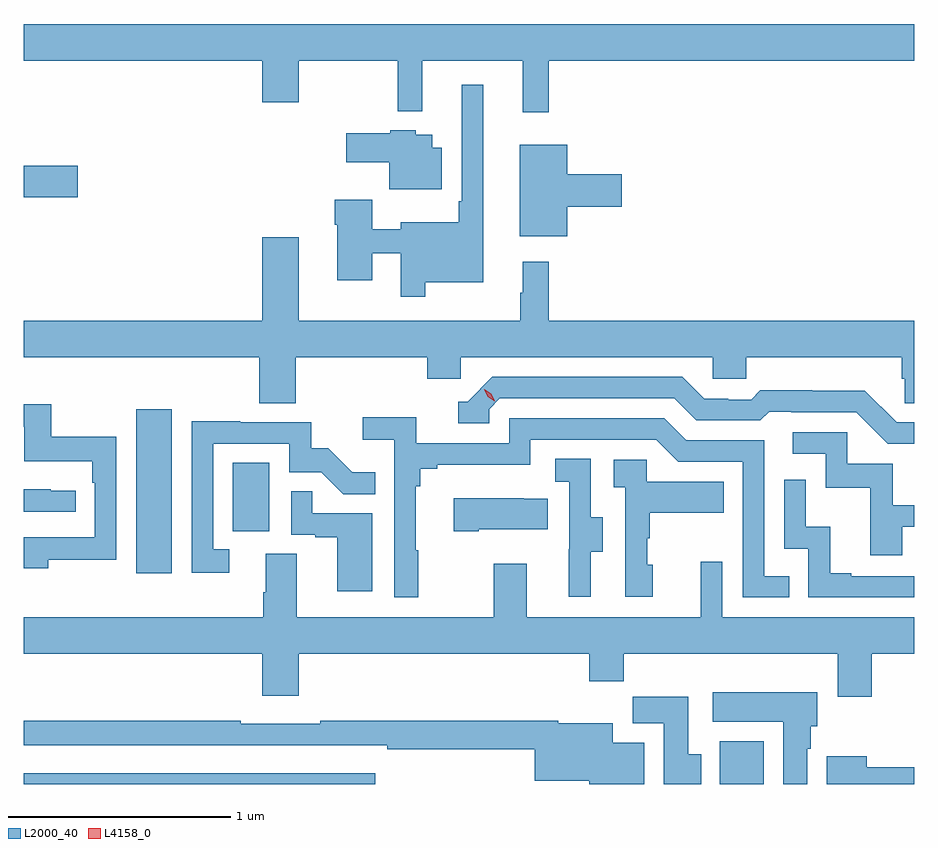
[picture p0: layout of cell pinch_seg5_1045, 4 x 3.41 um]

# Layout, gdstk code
import gdstk
lib = gdstk.Library(unit=1e-6, precision=1e-09)
def R(c, l, rs):  # rectangles x0, y0, x1, y1
    for r in rs: c.add(gdstk.rectangle(r[:2], r[2:], *l))
def P(c, l, *ps):  # polygons
    for p in ps: c.add(gdstk.Polygon(p, *l))
L2000_40 = (2000, 40)
L4158_0 = (4158, 0)

pinch_seg5_1045 = lib.new_cell('pinch_seg5_1045')
R(pinch_seg5_1045, L2000_40, [(835.264,866.831,836.843,866.88), (838.391,866.831,838.588,867.022), (835.769,867.777,835.93,868.513), (836.204,867.966,836.368,868.273), (835.264,869.465,835.507,869.607)])
P(pinch_seg5_1045, L2000_40, [(835.264,870.08),(836.336,870.08),(836.336,869.892),(836.5,869.892),(836.5,870.08),(836.943,870.08),(836.943,869.852),(837.053,869.852),(837.053,870.08),(837.506,870.08),(837.506,869.847),(837.623,869.847),(837.623,870.08),(839.264,870.08),(839.264,870.244),(835.264,870.244)],
  [(837.067,869.084),(837.328,869.084),(837.328,869.971),(837.231,869.971),(837.231,869.449),(837.219,869.449),(837.219,869.353),(836.957,869.353),(836.957,869.323),(836.83,869.323),(836.83,869.455),(836.66,869.455),(836.66,869.342),(836.672,869.342),(836.672,869.094),(836.83,869.094),(836.83,869.214),(836.958,869.214),(836.958,869.019),(837.067,869.019)],
  [(837.142,869.689),(837.1,869.689),(837.1,869.746),(837.024,869.746),(837.024,869.767),(836.91,869.767),(836.91,869.754),(836.712,869.754),(836.712,869.624),(836.906,869.624),(836.906,869.501),(837.142,869.501)],
  [(837.706,869.423),(837.949,869.423),(837.949,869.57),(837.706,869.57),(837.706,869.701),(837.491,869.701),(837.491,869.291),(837.706,869.291)],
  [(836.486,868.748),(837.077,868.748),(837.077,868.65),(837.228,868.65),(837.228,868.748),(838.359,868.748),(838.359,868.65),(838.509,868.65),(838.509,868.748),(839.207,868.748),(839.207,868.65),(839.221,868.65),(839.221,868.54),(839.264,868.54),(839.264,868.912),(837.623,868.912),(837.623,869.176),(837.506,869.176),(837.506,869.036),(837.495,869.036),(837.495,868.912),(836.5,868.912),(836.5,869.287),(836.336,869.287),(836.336,868.912),(835.264,868.912),(835.264,868.748),(836.321,868.748),(836.321,868.54),(836.486,868.54)],
  [(839.264,868.455),(839.184,868.455),(839.042,868.597),(838.806,868.597),(838.806,868.6),(838.573,868.6),(838.531,868.557),(838.428,868.557),(838.428,868.56),(838.321,868.56),(838.222,868.659),(837.369,868.659),(837.258,868.548),(837.215,868.548),(837.215,868.452),(837.354,868.452),(837.354,868.515),(837.402,868.563),(838.185,868.563),(838.284,868.464),(838.573,868.464),(838.612,868.503),(838.711,868.503),(838.711,868.5),(839.004,868.5),(839.145,868.359),(839.264,868.359)],
  [(835.375,867.838),(835.68,867.838),(835.68,868.39),(835.387,868.39),(835.387,868.536),(835.264,868.536),(835.264,868.435),(835.266,868.435),(835.266,868.28),(835.571,868.28),(835.571,868.184),(835.584,868.184),(835.584,867.939),(835.271,867.939),(835.271,867.94),(835.264,867.94),(835.264,867.8),(835.375,867.8)],
  [(837.037,867.881),(837.025,867.881),(837.025,868.169),(837.044,868.169),(837.044,868.246),(837.121,868.246),(837.121,868.265),(837.54,868.265),(837.54,868.377),(838.104,868.377),(838.203,868.278),(838.494,868.278),(838.494,867.669),(838.703,867.669),(838.703,867.765),(838.59,867.765),(838.59,868.374),(838.24,868.374),(838.141,868.473),(837.444,868.473),(837.444,868.362),(837.026,868.362),(837.026,868.478),(836.787,868.478),(836.787,868.376),(836.928,868.376),(836.928,867.669),(837.037,867.669)],
  [(836.188,867.885),(836.115,867.885),(836.115,868.359),(836.457,868.359),(836.457,868.23),(836.601,868.23),(836.699,868.132),(836.843,868.132),(836.843,868.231),(836.739,868.231),(836.632,868.338),(836.556,868.338),(836.556,868.455),(836.237,868.455),(836.237,868.46),(836.019,868.46),(836.019,867.78),(836.188,867.78)],
  [(839.209,867.987),(839.264,867.987),(839.264,868.083),(839.167,868.083),(839.167,868.269),(838.962,868.269),(838.962,868.41),(838.719,868.41),(838.719,868.314),(838.866,868.314),(838.866,868.161),(839.065,868.161),(839.065,867.858),(839.209,867.858)],
  [(837.811,867.874),(837.865,867.874),(837.865,868.029),(837.81,868.029),(837.81,868.292),(837.651,868.292),(837.651,868.189),(837.714,868.189),(837.714,867.885),(837.713,867.885),(837.713,867.672),(837.811,867.672)],
  [(838.09,867.816),(838.065,867.816),(838.065,867.935),(838.075,867.935),(838.075,868.049),(838.409,868.049),(838.409,868.189),(838.062,868.189),(838.062,868.287),(837.915,868.287),(837.915,868.163),(837.966,868.163),(837.966,867.672),(838.09,867.672)],
  [(839.264,867.765),(838.981,867.765),(838.981,867.778),(838.886,867.778),(838.886,867.986),(838.776,867.986),(838.776,868.198),(838.68,868.198),(838.68,867.888),(838.788,867.888),(838.788,867.669),(839.264,867.669)],
  [(835.498,868.149),(835.385,868.149),(835.385,868.154),(835.264,868.154),(835.264,868.053),(835.498,868.053)],
  [(836.83,868.047),(836.561,868.047),(836.561,868.145),(836.466,868.145),(836.466,867.951),(836.573,867.951),(836.573,867.939),(836.672,867.939),(836.672,867.696),(836.83,867.696)],
  [(837.307,867.974),(837.617,867.974),(837.617,868.111),(837.509,868.111),(837.509,868.114),(837.195,868.114),(837.195,867.967),(837.307,867.967)],
  [(839.072,867.416),(839.264,867.416),(839.264,867.58),(838.401,867.58),(838.401,867.829),(838.304,867.829),(838.304,867.58),(837.523,867.58),(837.523,867.82),(837.376,867.82),(837.376,867.58),(836.491,867.58),(836.491,867.866),(836.351,867.866),(836.351,867.692),(836.339,867.692),(836.339,867.58),(835.264,867.58),(835.264,867.416),(836.336,867.416),(836.336,867.228),(836.5,867.228),(836.5,867.416),(837.803,867.416),(837.803,867.292),(837.959,867.292),(837.959,867.416),(838.919,867.416),(838.919,867.222),(839.072,867.222)],
  [(838.783,866.99),(838.798,866.99),(838.798,867.09),(838.828,867.09),(838.828,867.244),(838.359,867.244),(838.359,867.11),(838.676,867.11),(838.676,866.831),(838.783,866.831)],
  [(838.306,866.964),(838.249,866.964),(838.249,867.223),(838,867.223),(838,867.104),(838.139,867.104),(838.139,866.831),(838.306,866.831)],
  [(838.051,867.016),(837.91,867.016),(837.91,867.103),(837.664,867.103),(837.664,867.115),(836.596,867.115),(836.596,867.102),(836.24,867.102),(836.24,867.115),(835.264,867.115),(835.264,867.006),(836.896,867.006),(836.896,866.986),(837.56,866.986),(837.56,866.846),(837.804,866.846),(837.804,866.831),(838.051,866.831)],
  [(839.264,866.906),(839.05,866.906),(839.05,866.956),(838.871,866.956),(838.871,866.831),(839.264,866.831)])
P(pinch_seg5_1045, L4158_0, [(837.379,868.55),(837.349,868.57),(837.333,868.603),(837.333,868.603),(837.333,868.603),(837.364,868.583),(837.38,868.55),(837.38,868.55)])

lib.write_gds('pinch_seg5_1045.gds')
